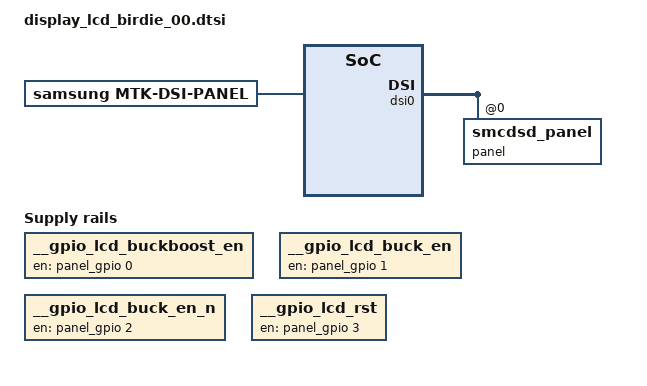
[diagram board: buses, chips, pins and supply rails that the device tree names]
/*
 * SAMSUNG LCD Panel Device Tree Source
 *
 * Copyright (c) Samsung Electronics Co., Ltd.
 *		http://www.samsung.com
 *
 * This program is free software; you can redistribute it and/or modify
 * it under the terms of the GNU General Public License version 2 as
 * published by the Free Software Foundation.
 */

/ {
	fragment@led {
		target-path = "/disp_leds/";
		__overlay__ {
			compatible;
		};
	};

	fragment@pwm {
		target-path = "/pwmleds/";
		__overlay__ {
			compatible;
		};
	};

	fragment@lcd {
		target-path = "/";
		__overlay__ {
			panel {
				compatible = "samsung,mtk-dsi-panel";
				smcdsd_panel = <&hx83102j_boe>;
			};

			lcd_fixed_regulator: lcd_fixed_regulator {
				compatible = "simple-bus";

				__gpio_lcd_buckboost_en: __gpio_lcd_buckboost_en {
					compatible = "regulator-fixed";
					regulator-name = "lcd_buckboost_en";
					gpio = <&panel_gpio 0 0>;	/* LCD_BUCKBOOST_EN */
					enable-active-high;
					regulator-boot-on;
				};
				__gpio_lcd_buck_en: __gpio_lcd_buck_en {
					compatible = "regulator-fixed";
					regulator-name = "lcd_buck_en";
					gpio = <&panel_gpio 1 0>;	/* LCD_BUCK_EN */
					enable-active-high;
					regulator-boot-on;
				};
				__gpio_lcd_buck_en_n: __gpio_lcd_buck_en_n {
					compatible = "regulator-fixed";
					regulator-name = "lcd_buck_en_n";
					gpio = <&panel_gpio 2 0>;	/* LCD_BUCK_EN_N */
					enable-active-high;
					regulator-boot-on;
				};
				__gpio_lcd_rst: __gpio_lcd_rst {
					compatible = "regulator-fixed";
					regulator-name = "lcd_rst";
					gpio = <&panel_gpio 3 0>;	/* LCD_RST_N */
					enable-active-high;
					regulator-boot-on;
				};
			};

			smcdsd_board_hx83102j: smcdsd_board_hx83102j {
				gpio_con = <&panel_gpio 4 GPIO_ACTIVE_HIGH>;	/* LCD_CON_DET */

				panel_power_enable {
					type =
					"regulator,enable",	"lcd_buckboost_en",
					"delay,usleep",	"1000",
					"regulator,enable",	"lcd_vddi",
					"delay,usleep",	"1000",
					"regulator,enable",	"lcd_buck_en",
					"delay,usleep",	"1000",
					"regulator,enable",	"lcd_buck_en_n",
					"delay,usleep",	"1000",
					"regulator,enable",	"lcd_buck_boost",
					"regulator,enable",	"lcd_buck";
				};
				panel_power_disable {
					type =
					"regulator,disable",	"lcd_buck",
					"regulator,disable",	"lcd_buck_boost",
					"delay,usleep",	"3000",
					"regulator,disable",	"lcd_buck_en_n",
					"regulator,disable",	"lcd_buck_en",
					"delay,usleep",	"5000",
					"regulator,disable",	"lcd_vddi",
					"delay,usleep",	"3000",
					"regulator,disable",	"lcd_buckboost_en",
					"delay,msleep",	"20";
				};
				panel_reset_enable {
					type =
					"delay,usleep",	"3000",
					"regulator,enable",	"lcd_rst",
					"delay,usleep",	"1000",
					"regulator,disable",	"lcd_rst",
					"delay,usleep",	"1000",
					"regulator,enable",	"lcd_rst",
					"delay,msleep",	"15";
				};
				panel_reset_disable {
					type =
					"delay,msleep",	"70",
					"regulator,disable",	"lcd_rst",
					"delay,usleep",	"1000";
				};
				panel_not_connected {
					type =
					"regulator,disable",	"lcd_rst",
					"regulator,disable",	"lcd_buck",
					"regulator,disable",	"lcd_buck_boost",
					"regulator,disable",	"lcd_buck_en_n",
					"regulator,disable",	"lcd_buck_en",
					"regulator,disable",	"lcd_vddi",
					"regulator,disable",	"lcd_buckboost_en";
				};
			};

			hx83102j_boe: hx83102j_boe {
				/* id_match: MASK(HEX) EXPECT(HEX) */
				id_match = <
					0xFFFFFF 0x4CD230
				>;
				lcm_params-types = <2>; /* 0: LCM_TYPE_DBI, 1: LCM_TYPE_DPI, 2: LCM_TYPE_DSI */
				lcm_params-dsi-mode = <3>;	/* 0: CMD, 1: SYNC_PULSE_VDO, 2: SYNC_EVENT_VDO, 3: BURST_VDO */
				lcm_params-dsi-lane_num = <3>;

				lcm_params-resolution = <1440 2304>;
				lcm_params-physical_width = <147>;	/* 146.7936mm x 234.86976mm */
				lcm_params-physical_height = <235>;

				lcm_params-dsi-horizontal_sync_active = <20>;
				lcm_params-dsi-horizontal_backporch = <40>;
				lcm_params-dsi-horizontal_frontporch = <172>;
				lcm_params-dsi-vertical_sync_active = <8>;
				lcm_params-dsi-vertical_backporch = <12>;
				lcm_params-dsi-vertical_frontporch = <96>;

				lcm_params-dsi-data_rate = <850>;
				lcm_params-dsi-ssc_disable = <1>;
				lcm_params-dsi-cont_clock = <1>;
				lcm_params-dsi-is_cphy = <1>;

				drm_params-vrefresh = <60>;

				smcdsd_board = <&smcdsd_board_hx83102j>;
			};
		};
	};
};

&mt_pmic_vcamio_ldo_reg {
	regulator-name = "lcd_vddi";
	regulator-boot-on;
};

&dsi0 {
	panel@0 {
		compatible = "smcdsd_panel";
	};
};

